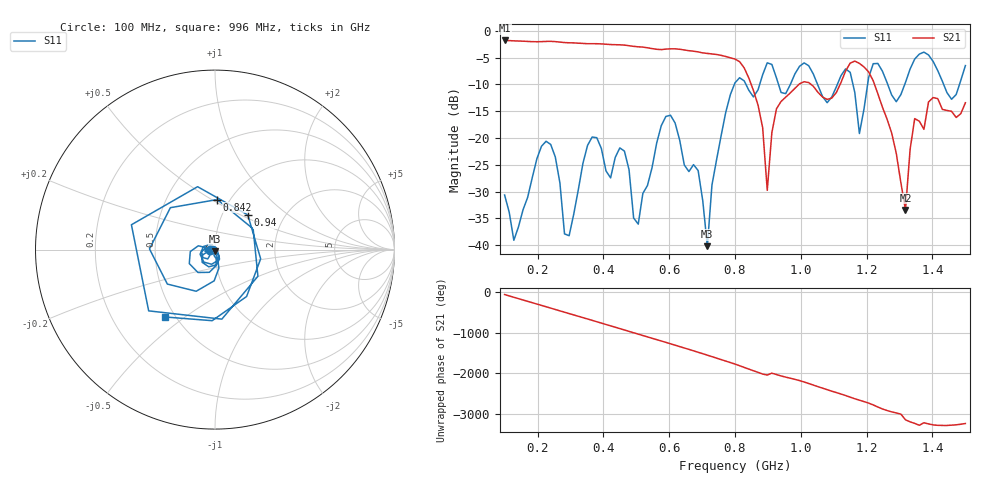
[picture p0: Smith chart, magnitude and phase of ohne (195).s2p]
! NanoVNA-App
! Date: 2025-09-25 14:22:19
! Start: 100MHz Stop: 1,5GHz Points: 101
! S-Parameter data: F S11 S21 S12 S22
# Hz S RI R 50
!  Frequency  S11_Real  S11_Imag  S21_Real  S21_Imag  S12_Real  S12_Imag  S22_Real  S22_Imag
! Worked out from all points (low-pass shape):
!   101 points, 100 MHz to 1.5 GHz, reference 50 ohm
!   highest |S21| = -1.79 dB at 100 MHz (marker M1); lowest = -33.4 dB at 1.318 GHz (marker M2)
!   |S21| within 3 dB of the highest: start of sweep to 772.4 MHz
!   lowest |S11| = -40.2 dB at 716 MHz (marker M3), VSWR 1.02, Z = 49.7 - j0.94 ohm
!   |S11| at or under -10 dB: start of sweep to 798 MHz; 833.3 MHz to 875 MHz (41.74 MHz wide, 4.89 % of centre); 1.051 GHz to 1.111 GHz (60.07 MHz wide, 5.56 % of centre) (the widest 3 of 7)
!   S12 and S22 are empty: the file has one direction only
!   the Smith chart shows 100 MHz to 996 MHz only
!   S11 on the Smith chart (normalised r, x): 100 MHz: 0.94, -0.01; 842 MHz: 0.88, +0.53; 940 MHz: 1.32, +0.55; 996 MHz: 0.44, -0.42
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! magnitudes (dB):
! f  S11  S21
! 100 MHz  -30.6  -1.8
! 128 MHz  -39.1  -1.9
! 226 MHz  -20.6  -2.0
! 296 MHz  -38.2  -2.2
! 338 MHz  -24.7  -2.3
! 464 MHz  -22.4  -2.7
! 506 MHz  -36.1  -3.0
! 576 MHz  -17.7  -3.5
! 688 MHz  -26.1  -3.9
! 716 MHz  -40.2  -4.2
! 800 MHz  -9.7  -5.3
! 842 MHz  -11.1  -8.8
! 898 MHz  -6.0  -29.8
! 940 MHz  -11.5  -13.2
! 996 MHz  -6.6  -9.9
! 1.038 GHz  -8.1  -10.3
! 1.178 GHz  -19.2  -6.1
! 1.22 GHz  -6.1  -9.3
! 1.276 GHz  -12.0  -19.1
! 1.318 GHz  -9.6  -33.4
! 1.346 GHz  -5.3  -16.4
! 1.5 GHz  -6.5  -13.4
